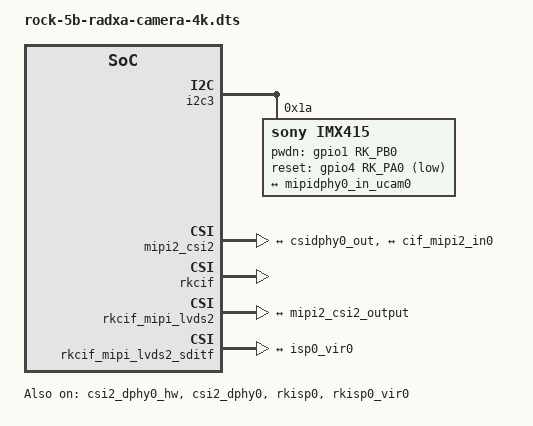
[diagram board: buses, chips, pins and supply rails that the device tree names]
/dts-v1/;
/plugin/;

#include <dt-bindings/clock/rk3588-cru.h>
#include <dt-bindings/power/rk3588-power.h>
#include <dt-bindings/gpio/gpio.h>
#include <dt-bindings/pinctrl/rockchip.h>

/ {
	metadata {
		title ="Enable Radxa Camera 4K";
		compatible = "radxa,rock-5b";
		category = "camera";
		exclusive = "csi2_dphy0";
		description = "Enable Radxa Camera 4K.";
	};

	fragment@0 {
		target = <&i2c3>;

		__overlay__ {
			status = "okay";
			#address-cells = <1>;
			#size-cells = <0>;

			imx415: imx415@1a {
				status = "okay";
				compatible = "sony,imx415";
				reg = <0x1a>;
				clocks = <&cru CLK_MIPI_CAMARAOUT_M3>;
				clock-names = "xvclk";
				pinctrl-names = "default";
				pinctrl-0 = <&mipim0_camera3_clk>;
				power-domains = <&power RK3588_PD_VI>;
				pwdn-gpios = <&gpio1 RK_PB0 GPIO_ACTIVE_HIGH>;
				reset-gpios = <&gpio4 RK_PA0 GPIO_ACTIVE_LOW>;
				rockchip,camera-module-index = <0>;
				rockchip,camera-module-facing = "back";
				rockchip,camera-module-name = "RADXA-CAMERA-4K";
				rockchip,camera-module-lens-name = "DEFAULT";
				port {
					imx415_out0: endpoint {
						remote-endpoint = <&mipidphy0_in_ucam0>;
						data-lanes = <1 2 3 4>;
					};
				};
			};
		};
	};

	fragment@1 {
		target = <&csi2_dphy0_hw>;

		__overlay__ {
			status = "okay";
		};
	};

	fragment@2 {
		target = <&csi2_dphy0>;

		__overlay__ {
			status = "okay";

			ports {
				#address-cells = <1>;
				#size-cells = <0>;

				port@0 {
					reg = <0>;
					#address-cells = <1>;
					#size-cells = <0>;

					mipidphy0_in_ucam0: endpoint@1 {
						reg = <1>;
						remote-endpoint = <&imx415_out0>;
						data-lanes = <1 2 3 4>;
					};
				};

				port@1 {
					reg = <1>;
					#address-cells = <1>;
					#size-cells = <0>;

					csidphy0_out: endpoint@0 {
						reg = <0>;
						remote-endpoint = <&mipi2_csi2_input>;
					};
				};
			};
		};
	};

	fragment@3 {
		target = <&mipi2_csi2>;

		__overlay__ {
			status = "okay";

			ports {
				#address-cells = <1>;
				#size-cells = <0>;

				port@0 {
					reg = <0>;
					#address-cells = <1>;
					#size-cells = <0>;

					mipi2_csi2_input: endpoint@1 {
						reg = <1>;
						remote-endpoint = <&csidphy0_out>;
					};
				};

				port@1 {
					reg = <1>;
					#address-cells = <1>;
					#size-cells = <0>;

					mipi2_csi2_output: endpoint@0 {
						reg = <0>;
						remote-endpoint = <&cif_mipi2_in0>;
					};
				};
			};
		};
	};

	fragment@4 {
		target = <&rkcif>;

		__overlay__ {
			status = "okay";
		};
	};

	fragment@5 {
		target = <&rkcif_mipi_lvds2>;

		__overlay__ {
			status = "okay";

			port {
				cif_mipi2_in0: endpoint {
					remote-endpoint = <&mipi2_csi2_output>;
				};
			};
		};
	};

	fragment@6 {
		target = <&rkcif_mipi_lvds2_sditf>;

		__overlay__ {
			status = "okay";

			port {
				mipi_lvds2_sditf: endpoint {
					remote-endpoint = <&isp0_vir0>;
				};
			};
		};
	};

	fragment@7 {
		target = <&rkcif_mmu>;

		__overlay__ {
			status = "okay";
		};
	};

	fragment@8 {
		target = <&isp0_mmu>;

		__overlay__ {
			status = "okay";
		};
	};

	fragment@9 {
		target = <&rkisp0>;

		__overlay__ {
			status = "okay";
		};
	};

	fragment@10 {
		target = <&rkisp0_vir0>;

		__overlay__ {
			status = "okay";

			port {
				#address-cells = <1>;
				#size-cells = <0>;

				isp0_vir0: endpoint@0 {
					reg = <0>;
					remote-endpoint = <&mipi_lvds2_sditf>;
				};
			};
		};
	};
};

